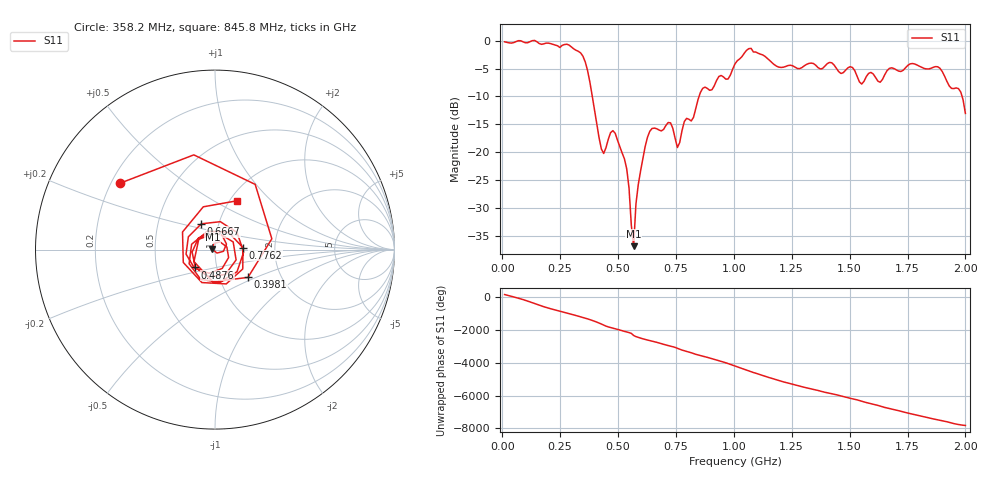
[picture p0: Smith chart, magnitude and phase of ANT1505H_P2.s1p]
!Created with skrf (http://scikit-rf.org).
# Hz S RI R 50.0
!freq ReS11 ImS11
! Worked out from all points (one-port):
!   201 points, 10 MHz to 2 GHz, reference 50 ohm
!   lowest |S11| = -36.8 dB at 567.2 MHz (marker M1), VSWR 1.03, Z = 48.6 + j0.169 ohm
!   |S11| at or under -10 dB: 388.8 MHz to 849.8 MHz (461 MHz wide, 74.4 % of centre); 1.986 GHz to end of sweep
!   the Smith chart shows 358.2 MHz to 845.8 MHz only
!   S11 on the Smith chart (normalised r, x): 358.2 MHz: 0.24, +0.30; 398.1 MHz: 1.37, -0.45; 487.6 MHz: 0.79, -0.16; 666.7 MHz: 0.83, +0.24; 776.1 MHz: 1.37, +0.03; 845.8 MHz: 1.08, +0.65
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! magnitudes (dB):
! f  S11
! 10 MHz  -0.2
! 258.8 MHz  -0.8
! 358.2 MHz  -3.8
! 398.1 MHz  -12.4
! 437.9 MHz  -20.2
! 467.7 MHz  -16.5
! 487.6 MHz  -16.6
! 507.5 MHz  -19.0
! 537.4 MHz  -23.0
! 567.2 MHz  -36.8
! 577.1 MHz  -29.3
! 617 MHz  -19.0
! 666.7 MHz  -15.8
! 726.4 MHz  -14.7
! 756.2 MHz  -19.1
! 776.1 MHz  -16.1
! 825.9 MHz  -13.7
! 845.8 MHz  -10.5
! 975.1 MHz  -6.9
! 1.005 GHz  -4.2
! 1.075 GHz  -1.4
! 1.254 GHz  -4.5
! 1.502 GHz  -4.7
! 1.552 GHz  -7.8
! 1.751 GHz  -4.4
! 1.891 GHz  -5.0
! 1.98 GHz  -9.2
! 2 GHz  -13.0
